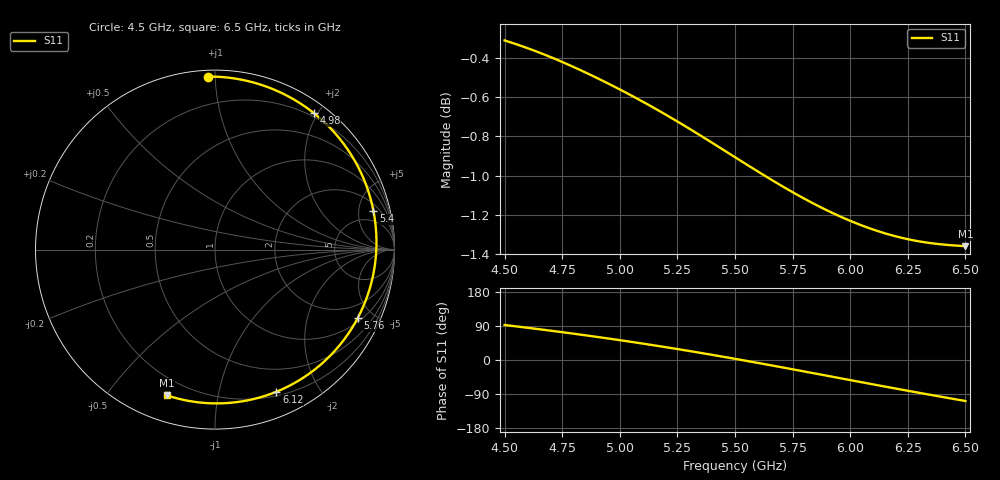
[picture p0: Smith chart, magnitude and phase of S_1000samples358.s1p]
! TOUCHSTONE file generated by CST MICROWAVE STUDIO
! Date and time: Thu Oct 27 21:41:23 2022
! Project name: L.cst
! Parameters = {Di=1.27; Epsilon_r=1.56; InnerDiameter=1.27; Length=2; Lf=10; Lg=60; OuterConductorThickness=0.2921; OuterDiameter=3.6; Wf=3; Wp=41.2; de=1.5; df=6.8; g=0.8; gx=4.55255; gy=2.75618; h=2.34; hf=1.524; px=9.42621; py=10.7057; w=9.7; wx=4.87366; wy=7.94952}
! Header version: 2018
! Port assignment regex: !\s*Touchstone port\s*([0-9]+)\s*=\s*(CST MWS port|CST DS port)\s*([0-9]+|Zmin|Zmax)\s*\(\"(.*)\"\)(\s*mode\s*([0-9]+))?.*
! Touchstone port assignment:
! Touchstone port 1 = CST MWS port 1 ("")
# GHz S DB R 50
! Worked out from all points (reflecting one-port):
!   101 points, 4.5 GHz to 6.5 GHz, reference 50 ohm
!   lowest |S11| = -1.4 dB at 6.5 GHz (marker M1), VSWR 12.80, Z = 5.93 - j35.8 ohm
!   phase of S11 starts at 92 deg and turns -201 deg over the sweep
!   S11 on the Smith chart (normalised r, x): 4.5 GHz: 0.03, +0.96; 4.98 GHz: 0.15, +1.95; 5.4 GHz: 2.92, +7.18; 5.76 GHz: 1.18, -4.06; 6.12 GHz: 0.24, -1.49; 6.5 GHz: 0.12, -0.72
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4.5  -0.31 92.3
4.64  -0.37 82.0
4.76  -0.43 72.6
4.88  -0.49 62.7
4.98  -0.55 54.1
5  -0.56 52.3
5.12  -0.64 41.4
5.2  -0.69 33.8
5.26  -0.73 27.9
5.34  -0.79 19.9
5.4  -0.83 13.7
5.5  -0.91 3.1
5.56  -0.95 -3.4
5.62  -0.99 -10.0
5.68  -1.04 -16.7
5.76  -1.09 -25.7
5.82  -1.13 -32.5
5.88  -1.17 -39.3
5.94  -1.20 -46.2
6  -1.23 -53.0
6.06  -1.26 -59.8
6.12  -1.28 -66.6
6.18  -1.30 -73.4
6.26  -1.33 -82.3
6.32  -1.34 -88.9
6.38  -1.35 -95.4
6.44  -1.36 -101.9
6.5  -1.36 -108.3
